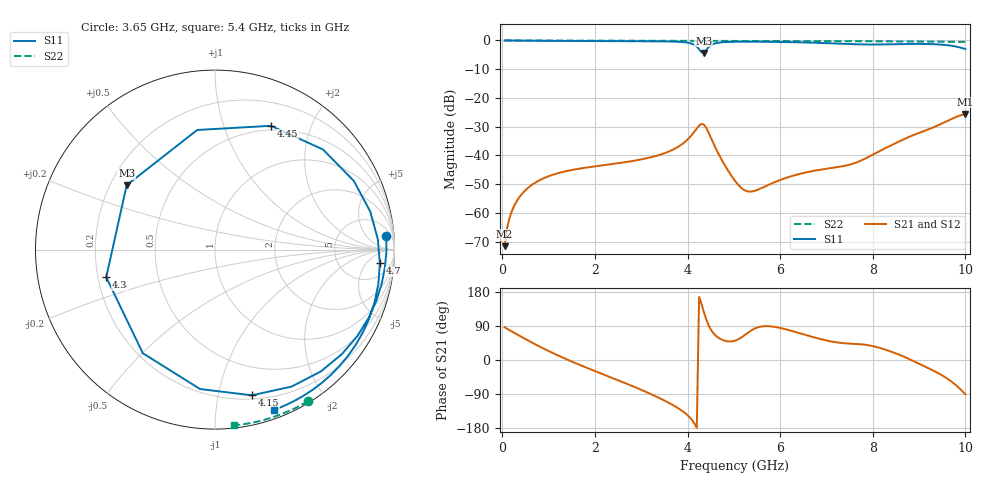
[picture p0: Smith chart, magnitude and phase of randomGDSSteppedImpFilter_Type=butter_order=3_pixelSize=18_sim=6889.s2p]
! freq	dB(S11)	phase(S11)	dB(S12)	phase(S12)
!  dB(S21)	phase(S21)	dB(S22)	phase(S22)
!S-par simulation data
#  GHz  S  DB  R 50
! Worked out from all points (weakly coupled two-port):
!   200 points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, 50 MHz to 10 GHz, reference 50 ohm
!   highest |S21| = -25.62 dB at 10 GHz (marker M1); lowest = -71.6 dB at 50 MHz (marker M2)
!   lowest |S11| = -4.3 dB at 4.35 GHz (marker M3), VSWR 4.12, Z = 13.4 + j15.2 ohm
!   |S11| at or under -10 dB: nowhere
!   |S22| runs from -0.5 to 0.0 dB; largest |S21 - S12| = 0
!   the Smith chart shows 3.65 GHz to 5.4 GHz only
!   S11 on the Smith chart (normalised r, x): 3.65 GHz: 11, +20; 4.15 GHz: 0.23, -1.26; 4.3 GHz: 0.23, -0.12; 4.45 GHz: 0.45, +1.45; 4.7 GHz: 12, -12; 5.4 GHz: 0.08, -1.43
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0.05  -0.01 -6.3  -71.58 86.3  -71.58 86.3  -0.00 -0.8
0.3  -0.05 -37.3  -56.24 68.8  -56.24 68.8  -0.01 -5.0
0.8  -0.12 -95.7  -48.67 35.8  -48.67 35.8  -0.02 -13.3
1.75  -0.18 169.5  -44.39 -16.8  -44.39 -16.8  -0.04 -28.8
2.6  -0.23 95.4  -42.49 -58.3  -42.49 -58.3  -0.05 -42.3
3.4  -0.31 27.6  -39.79 -100.9  -39.79 -100.9  -0.07 -54.7
3.65  -0.38 4.4  -38.26 -116.6  -38.26 -116.6  -0.08 -58.5
3.95  -0.65 -31.2  -35.21 -140.4  -35.21 -140.4  -0.09 -63.0
4.15  -1.54 -75.8  -31.68 -167.9  -31.68 -167.9  -0.10 -66.0
4.3  -4.08 -165.7  -29.05 148.2  -29.05 148.2  -0.10 -68.2
4.35  -4.31 143.9  -29.24 127.8  -29.24 127.8  -0.11 -68.9
4.45  -2.42 65.7  -31.90 93.0  -31.90 93.0  -0.11 -70.3
4.7  -0.71 -4.8  -40.42 56.2  -40.42 56.2  -0.11 -74.0
5.05  -0.45 -43.2  -49.37 52.1  -49.37 52.1  -0.12 -79.0
5.4  -0.43 -69.9  -52.52 79.9  -52.52 79.9  -0.14 -83.9
6.7  -0.77 -161.0  -45.44 60.9  -45.44 60.9  -0.20 -101.6
7.2  -1.06 152.7  -44.18 46.9  -44.18 46.9  -0.23 -108.2
7.65  -1.33 99.0  -42.44 42.3  -42.44 42.3  -0.26 -114.1
8.35  -1.34 3.3  -36.86 24.1  -36.86 24.1  -0.32 -123.0
9.25  -1.26 -98.9  -30.62 -24.6  -30.62 -24.6  -0.41 -134.4
9.7  -1.84 -157.1  -27.34 -57.0  -27.34 -57.0  -0.46 -140.1
10  -2.98 138.6  -25.62 -90.7  -25.62 -90.7  -0.50 -143.9
